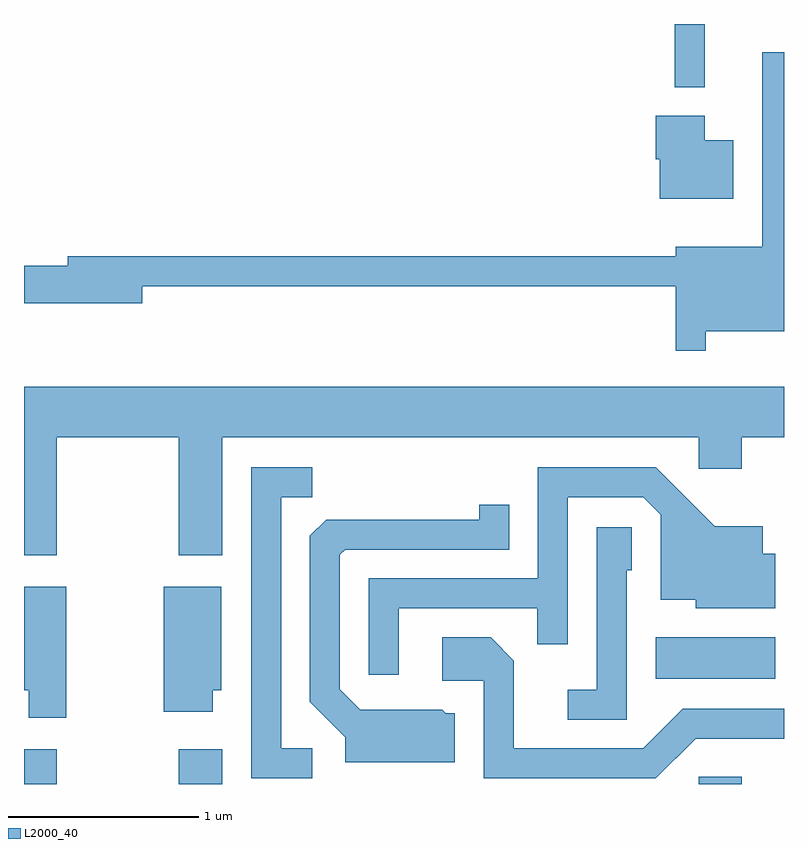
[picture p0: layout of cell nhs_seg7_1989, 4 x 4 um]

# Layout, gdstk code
import gdstk
lib = gdstk.Library(unit=1e-6, precision=1e-09)
def R(c, l, rs):  # rectangles x0, y0, x1, y1
    for r in rs: c.add(gdstk.rectangle(r[:2], r[2:], *l))
def P(c, l, *ps):  # polygons
    for p in ps: c.add(gdstk.Polygon(p, *l))
L2000_40 = (2000, 40)

nhs_seg7_1989 = lib.new_cell('nhs_seg7_1989')
R(nhs_seg7_1989, L2000_40, [(245.611,1730.252,245.784,1730.434), (246.426,1730.252,246.654,1730.434), (249.161,1730.252,249.389,1730.289), (248.936,1730.806,249.564,1731.024), (249.036,1733.918,249.194,1734.252)])
P(nhs_seg7_1989, L2000_40, [(249.199,1732.636),(249.611,1732.636),(249.611,1734.103),(249.496,1734.103),(249.496,1733.079),(249.041,1733.079),(249.041,1733.029),(245.841,1733.029),(245.841,1732.979),(245.611,1732.979),(245.611,1732.781),(246.234,1732.781),(246.234,1732.871),(249.041,1732.871),(249.041,1732.533),(249.199,1732.533)],
  [(249.344,1733.639),(249.194,1733.639),(249.194,1733.769),(248.936,1733.769),(248.936,1733.541),(248.956,1733.541),(248.956,1733.331),(249.344,1733.331)],
  [(245.784,1732.076),(246.426,1732.076),(246.426,1731.456),(246.654,1731.456),(246.654,1732.076),(249.161,1732.076),(249.161,1731.911),(249.389,1731.911),(249.389,1732.076),(249.611,1732.076),(249.611,1732.344),(245.611,1732.344),(245.611,1731.456),(245.784,1731.456)],
  [(247.584,1731.176),(248.311,1731.176),(248.311,1730.988),(248.474,1730.988),(248.474,1731.761),(248.869,1731.761),(248.961,1731.669),(248.961,1731.221),(249.146,1731.221),(249.146,1731.176),(249.564,1731.176),(249.564,1731.464),(249.499,1731.464),(249.499,1731.609),(249.247,1731.609),(248.937,1731.919),(248.316,1731.919),(248.316,1731.334),(247.426,1731.334),(247.426,1730.828),(247.584,1730.828)],
  [(247.128,1730.439),(246.964,1730.439),(246.964,1731.761),(247.128,1731.761),(247.128,1731.919),(246.806,1731.919),(246.806,1730.281),(247.128,1730.281)],
  [(247.879,1730.624),(247.832,1730.624),(247.812,1730.644),(247.382,1730.644),(247.274,1730.752),(247.274,1731.459),(247.302,1731.486),(248.164,1731.486),(248.164,1731.723),(248.006,1731.723),(248.006,1731.644),(247.202,1731.644),(247.116,1731.559),(247.116,1730.684),(247.301,1730.499),(247.301,1730.366),(247.879,1730.366)],
  [(248.784,1731.376),(248.809,1731.376),(248.809,1731.604),(248.626,1731.604),(248.626,1730.749),(248.473,1730.749),(248.473,1730.591),(248.784,1730.591)],
  [(245.834,1731.289),(245.611,1731.289),(245.611,1730.746),(245.636,1730.746),(245.636,1730.601),(245.834,1730.601)],
  [(246.604,1730.746),(246.649,1730.746),(246.649,1731.289),(246.346,1731.289),(246.346,1730.631),(246.604,1730.631)],
  [(249.147,1730.491),(249.611,1730.491),(249.611,1730.649),(249.079,1730.649),(248.869,1730.439),(248.189,1730.439),(248.189,1730.902),(248.067,1731.024),(247.811,1731.024),(247.811,1730.796),(248.031,1730.796),(248.031,1730.281),(248.937,1730.281)])

lib.write_gds('nhs_seg7_1989.gds')
